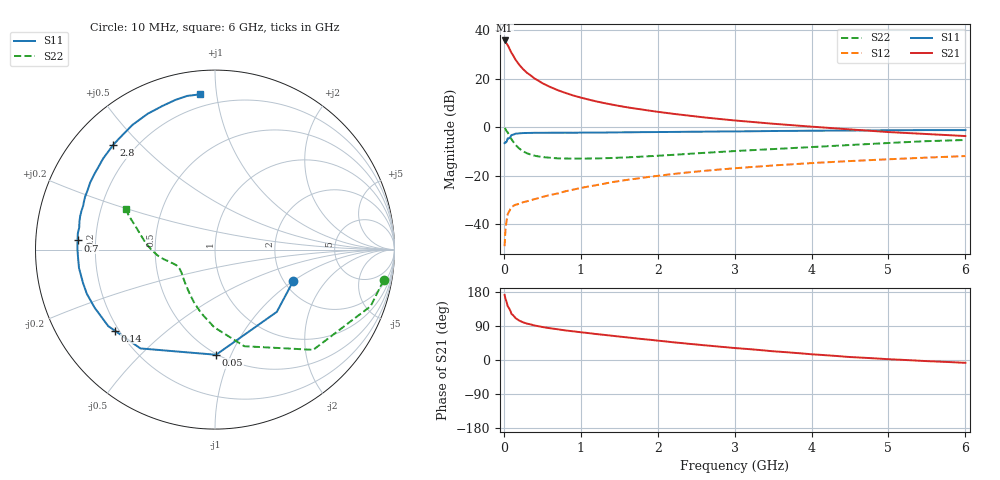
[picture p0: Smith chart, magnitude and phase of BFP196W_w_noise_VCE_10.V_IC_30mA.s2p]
! Infineon Technologies  Discrete & RF Semiconductors
! BFP196W
! VCE =  10. V,  IC =  30 mA
! Common Emitter S-Parameters:  Jan 2017
# GHz  S  MA  R  50
!  f  S11  S21  S12  S22
! GHz  MAG  ANG  MAG  ANG  MAG  ANG  MAG  ANG
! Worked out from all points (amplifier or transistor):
!   77 points, 10 MHz to 6 GHz, reference 50 ohm
!   highest |S21| = 35.8 dB at 10 MHz (marker M1)
!   |S21| within 3 dB of that: start of sweep to 67.02 MHz
!   unconditionally stable (mu >= 1): 870.2 MHz to 3.22 GHz
!   at 130 MHz: K = 0.30, MSG = 30.7 dB, |S12| = -32.4 dB
!   at 2.2 GHz: K = 1.05, MAG = 11.0 dB, |S12| = -19.3 dB
!   at 6 GHz: K = 0.90, MSG = 4.1 dB, |S12| = -11.9 dB
!   lowest NFmin = 1.13 dB at 450 MHz
!   S11 on the Smith chart (normalised r, x): 10 MHz: 2.22, -1.01; 50 MHz: 0.49, -0.88; 140 MHz: 0.18, -0.34; 700 MHz: 0.13, +0.03; 2.8 GHz: 0.12, +0.42; 6 GHz: 0.13, +0.90
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0.01  0.4696 -22.2  61.52 171.6  0.0035 77.0  0.9549 -10.3
0.02  0.4888 -45.2  59.24 162.7  0.0074 73.9  0.9227 -20.0
0.05  0.5859 -89.4  49.27 142.1  0.0159 57.3  0.7817 -45.6
0.1  0.6896 -127.0  34.09 121.6  0.0225 44.1  0.5626 -73.1
0.14  0.7183 -141.1  26.7 113.6  0.0245 39.9  0.4548 -86.3
0.15  0.7319 -144.4  24.96 110.9  0.025 38.9  0.4328 -90.6
0.2  0.7447 -154.3  19.38 104.1  0.0262 37.4  0.3624 -102.2
0.25  0.7554 -161.0  15.76 99.4  0.0282 37.6  0.318 -111.3
0.3  0.7585 -165.8  13.25 96.1  0.0295 37.8  0.2891 -118.3
0.4  0.7647 -172.3  10.08 90.9  0.0327 41.2  0.2573 -128.7
0.5  0.7644 -176.9  8.09 87.1  0.0362 44.7  0.2415 -135.7
0.6  0.7669 179.4  6.775 83.8  0.0398 47.4  0.2338 -141.0
0.7  0.7674 176.2  5.801 81.1  0.0428 50.1  0.2271 -144.8
0.9  0.7664 170.7  4.514 75.7  0.0513 53.0  0.2246 -149.8
1.1  0.7739 166.1  3.715 71.0  0.0596 55.5  0.2253 -153.2
1.5  0.7813 157.9  2.737 61.9  0.0771 56.7  0.2346 -158.7
2.1  0.7944 146.1  1.979 49.1  0.1034 55.4  0.2625 -165.1
2.8  0.8137 134.1  1.477 35.3  0.1335 51.5  0.3073 -172.0
3.1  0.8193 129.5  1.333 30.1  0.1457 49.4  0.327 -175.3
4.1  0.8455 115.0  0.998 13.8  0.1849 42.2  0.3959 173.1
5.1  0.8636 104.0  0.777 1.2  0.2208 34.7  0.4794 161.8
6  0.869 95.5  0.655 -7.4  0.2532 27.8  0.5434 155.6
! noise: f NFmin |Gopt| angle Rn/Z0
0.45  1.13  0.45  178  0.05
0.9  1.29  0.52  -176  0.06
1.9  2.14  0.68  -151  0.13
2.4  2.54  0.73  -146  0.22
